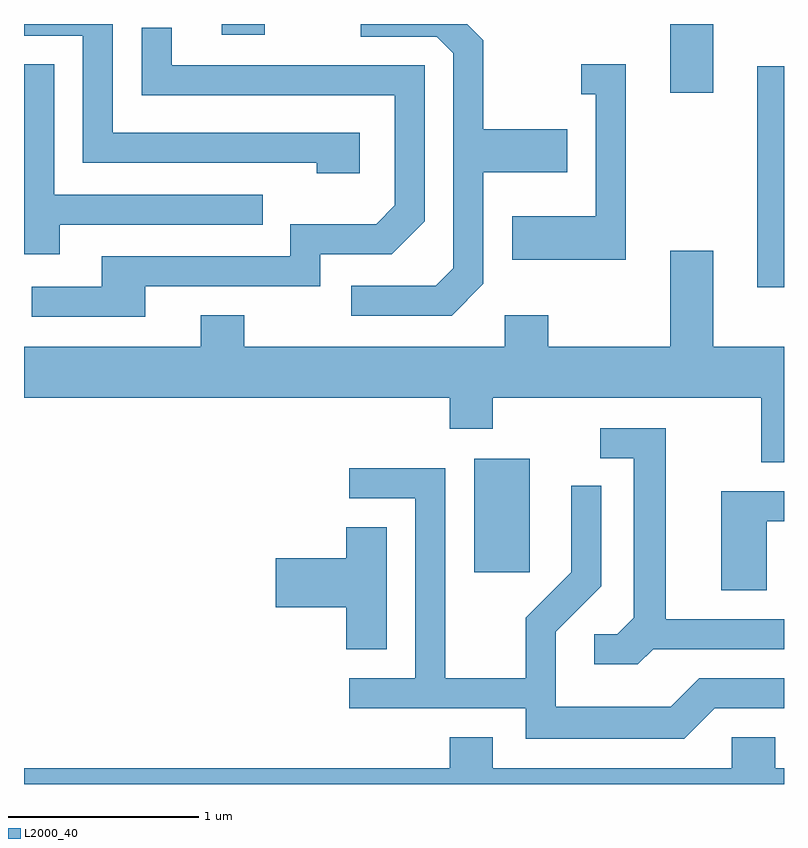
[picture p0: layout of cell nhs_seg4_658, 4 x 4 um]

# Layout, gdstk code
import gdstk
lib = gdstk.Library(unit=1e-6, precision=1e-09)
def R(c, l, rs):  # rectangles x0, y0, x1, y1
    for r in rs: c.add(gdstk.rectangle(r[:2], r[2:], *l))
def P(c, l, *ps):  # polygons
    for p in ps: c.add(gdstk.Polygon(p, *l))
L2000_40 = (2000, 40)

nhs_seg4_658 = lib.new_cell('nhs_seg4_658')
R(nhs_seg4_658, L2000_40, [(205.981,1347.096,206.274,1347.694), (207.471,1348.596,207.611,1349.759), (207.011,1349.621,207.239,1349.982), (204.651,1349.926,204.879,1349.982)])
P(nhs_seg4_658, L2000_40, [(205.379,1349.409),(204.079,1349.409),(204.079,1349.982),(203.611,1349.982),(203.611,1349.921),(203.921,1349.921),(203.921,1349.251),(205.151,1349.251),(205.151,1349.196),(205.379,1349.196)],
  [(206.029,1348.614),(206.029,1349.201),(206.469,1349.201),(206.469,1349.429),(206.029,1349.429),(206.029,1349.897),(205.944,1349.982),(205.383,1349.982),(205.383,1349.916),(205.784,1349.916),(205.871,1349.829),(205.871,1348.697),(205.779,1348.604),(205.333,1348.604),(205.333,1348.446),(205.862,1348.446)],
  [(204.249,1348.601),(205.169,1348.601),(205.169,1348.771),(205.547,1348.771),(205.719,1348.944),(205.719,1349.764),(204.389,1349.764),(204.389,1349.963),(204.231,1349.963),(204.231,1349.606),(205.561,1349.606),(205.561,1349.027),(205.464,1348.929),(205.011,1348.929),(205.011,1348.759),(204.021,1348.759),(204.021,1348.599),(203.653,1348.599),(203.653,1348.441),(204.249,1348.441)],
  [(203.799,1348.926),(204.868,1348.926),(204.868,1349.084),(203.769,1349.084),(203.769,1349.769),(203.611,1349.769),(203.611,1348.771),(203.799,1348.771)],
  [(206.779,1349.769),(206.543,1349.769),(206.543,1349.611),(206.621,1349.611),(206.621,1348.969),(206.181,1348.969),(206.181,1348.741),(206.779,1348.741)],
  [(207.611,1348.284),(207.239,1348.284),(207.239,1348.789),(207.011,1348.789),(207.011,1348.284),(206.369,1348.284),(206.369,1348.449),(206.141,1348.449),(206.141,1348.284),(204.769,1348.284),(204.769,1348.449),(204.541,1348.449),(204.541,1348.284),(203.611,1348.284),(203.611,1348.016),(205.851,1348.016),(205.851,1347.851),(206.079,1347.851),(206.079,1348.016),(207.491,1348.016),(207.491,1347.676),(207.611,1347.676)],
  [(206.922,1346.691),(207.611,1346.691),(207.611,1346.849),(206.989,1346.849),(206.989,1347.854),(206.643,1347.854),(206.643,1347.696),(206.821,1347.696),(206.821,1346.857),(206.734,1346.769),(206.613,1346.769),(206.613,1346.611),(206.842,1346.611)],
  [(207.247,1346.381),(207.611,1346.381),(207.611,1346.539),(207.164,1346.539),(207.014,1346.389),(206.409,1346.389),(206.409,1346.784),(206.649,1347.024),(206.649,1347.553),(206.491,1347.553),(206.491,1347.097),(206.251,1346.857),(206.251,1346.539),(205.829,1346.539),(205.829,1347.644),(205.323,1347.644),(205.323,1347.486),(205.671,1347.486),(205.671,1346.539),(205.323,1346.539),(205.323,1346.381),(206.251,1346.381),(206.251,1346.221),(207.087,1346.221)],
  [(207.519,1347.366),(207.611,1347.366),(207.611,1347.524),(207.281,1347.524),(207.281,1347.001),(207.519,1347.001)],
  [(205.519,1347.334),(205.306,1347.334),(205.306,1347.169),(204.936,1347.169),(204.936,1346.911),(205.306,1346.911),(205.306,1346.691),(205.519,1346.691)],
  [(207.611,1346.064),(207.564,1346.064),(207.564,1346.229),(207.336,1346.229),(207.336,1346.064),(206.079,1346.064),(206.079,1346.229),(205.851,1346.229),(205.851,1346.064),(203.611,1346.064),(203.611,1345.982),(207.611,1345.982)])

lib.write_gds('nhs_seg4_658.gds')
